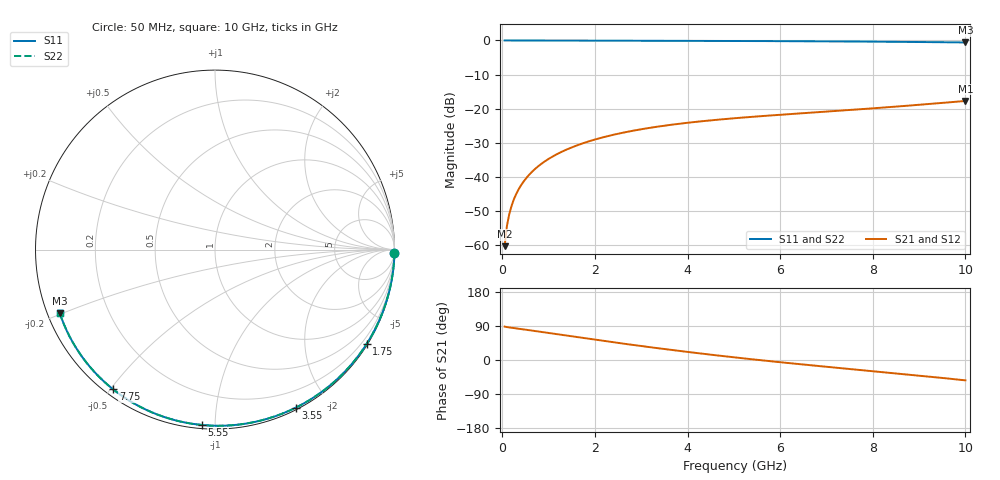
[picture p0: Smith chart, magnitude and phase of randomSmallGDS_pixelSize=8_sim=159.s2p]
! freq	dB(S11)	phase(S11)	dB(S12)	phase(S12)
!  dB(S21)	phase(S21)	dB(S22)	phase(S22)
!S-par simulation data
#  GHz  S  DB  R 50
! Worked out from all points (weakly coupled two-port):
!   200 points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, 50 MHz to 10 GHz, reference 50 ohm
!   highest |S21| = -17.71 dB at 10 GHz (marker M1); lowest = -60.2 dB at 50 MHz (marker M2)
!   lowest |S11| = -0.6 dB at 10 GHz (marker M3), VSWR 29.58, Z = 1.76 - j9.84 ohm
!   |S11| at or under -10 dB: nowhere
!   |S22| runs from -0.6 to 0.0 dB; largest |S21 - S12| = 0
!   S11 on the Smith chart (normalised r, x): 50 MHz: open; 1.75 GHz: 0.03, -3.49; 3.55 GHz: 0.02, -1.64; 5.55 GHz: 0.02, -0.93; 7.75 GHz: 0.02, -0.51; 10 GHz: 0.04, -0.20
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0.05  -0.00 -0.9  -60.22 88.2  -60.22 88.2  -0.00 -0.9
0.1  -0.00 -1.9  -54.30 86.8  -54.30 86.8  -0.00 -1.9
0.15  -0.00 -2.8  -50.87 85.9  -50.87 85.9  -0.00 -2.8
0.2  -0.00 -3.7  -48.42 85.1  -48.42 85.1  -0.00 -3.7
0.25  -0.00 -4.6  -46.52 84.3  -46.52 84.3  -0.00 -4.7
0.35  -0.00 -6.5  -43.64 82.6  -43.64 82.6  -0.00 -6.5
0.5  -0.01 -9.3  -40.59 80.1  -40.59 80.1  -0.01 -9.3
0.7  -0.02 -12.9  -37.71 76.6  -37.71 76.6  -0.02 -13.0
1  -0.02 -18.4  -34.68 71.3  -34.68 71.3  -0.02 -18.4
1.35  -0.03 -24.8  -32.17 65.0  -32.17 65.0  -0.03 -24.8
1.75  -0.04 -31.9  -30.06 58.0  -30.06 58.0  -0.04 -31.9
2.5  -0.07 -45.1  -27.31 45.1  -27.31 45.1  -0.07 -45.1
3.4  -0.09 -60.4  -25.14 30.5  -25.14 30.5  -0.09 -60.4
3.55  -0.10 -62.9  -24.86 28.2  -24.86 28.2  -0.10 -62.9
4.3  -0.12 -75.0  -23.66 16.9  -23.66 16.9  -0.12 -75.1
5.05  -0.15 -86.7  -22.73 6.4  -22.73 6.4  -0.15 -86.8
5.55  -0.18 -94.3  -22.20 -0.1  -22.20 -0.1  -0.18 -94.4
6.7  -0.24 -111.2  -21.10 -14.3  -21.10 -14.3  -0.24 -111.2
7.75  -0.32 -126.1  -20.12 -26.5  -20.12 -26.5  -0.32 -126.1
8.35  -0.38 -134.5  -19.52 -33.5  -19.52 -33.5  -0.38 -134.5
9.2  -0.48 -146.3  -18.62 -43.6  -18.62 -43.6  -0.48 -146.4
10  -0.59 -157.7  -17.71 -53.7  -17.71 -53.7  -0.59 -157.8
